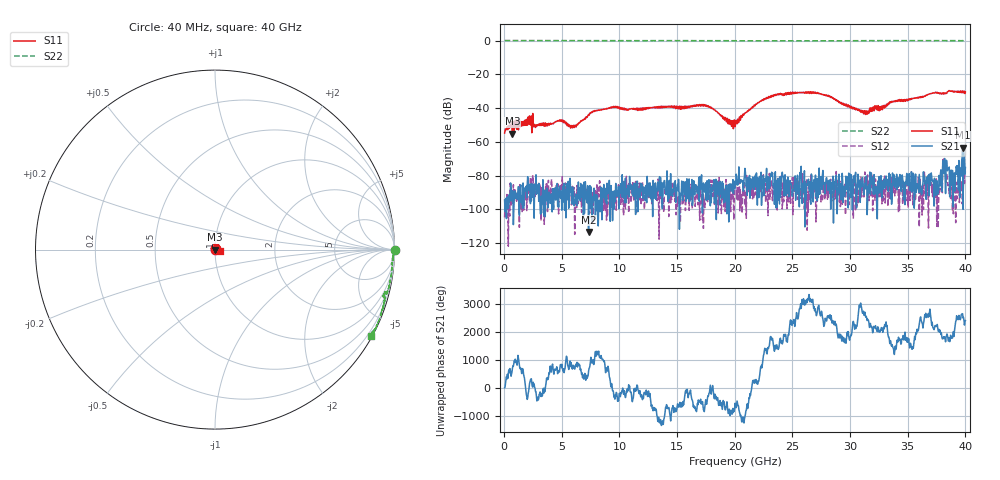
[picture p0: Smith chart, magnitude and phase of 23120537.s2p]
! 12/6/2023 2:03:20 PM
! D:\MS4647AVNA\292M185M 231205XX\23120537.S2P
! CHANNEL.1
! TR.MEASUREMENT
! CORRECTED.DATA
# GHZ S RI R 50.0
! FREQ.GHZ  S11RE  S11IM  S21RE  S21IM  S12RE  S12IM  S22RE  S22IM
!; PortSelection: Port_12
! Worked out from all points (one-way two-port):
!   1000 points, 40 MHz to 40 GHz, reference 50 ohm
!   highest |S21| = -63.58 dB at 39.76 GHz (marker M1); lowest = -113.4 dB at 7.32 GHz (marker M2)
!   lowest |S11| = -55.1 dB at 720 MHz (marker M3), VSWR 1.00, Z = 50.2 - j0.0895 ohm
!   |S11| at or under -10 dB: start of sweep to end of sweep
!   |S22| runs from -0.3 to 0.0 dB; largest |S21 - S12| = 0.00066
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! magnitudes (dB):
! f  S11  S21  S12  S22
! 40 MHz  -54.9  -94.5  -104.8  0.0
! 720 MHz  -55.1  -90.9  -93.7  0.0
! 2.16 GHz  -49.5  -85.2  -90.5  0.0
! 2.76 GHz  -50.2  -79.6  -82.8  0.0
! 4.92 GHz  -47.2  -93.6  -91.1  0.0
! 5.92 GHz  -51.7  -96.9  -86.4  -0.1
! 6.72 GHz  -47.7  -92.8  -101.9  -0.1
! 7.32 GHz  -44.1  -113.4  -90.1  -0.1
! 9.48 GHz  -39.4  -89.4  -91.1  -0.1
! 13.36 GHz  -39.3  -88.7  -82.1  -0.1
! 17.44 GHz  -38.6  -86.4  -93.4  -0.1
! 20.04 GHz  -51.1  -83.3  -87.4  -0.1
! 22.92 GHz  -33.7  -80.8  -84.0  -0.2
! 26.68 GHz  -30.6  -80.0  -93.9  -0.2
! 31.32 GHz  -42.8  -84.2  -86.8  -0.1
! 33.36 GHz  -37.6  -80.6  -86.7  0.0
! 37.6 GHz  -31.1  -91.0  -90.6  -0.1
! 38.24 GHz  -31.5  -80.0  -78.5  -0.1
! 38.44 GHz  -30.3  -77.2  -81.0  -0.1
! 38.96 GHz  -30.5  -87.8  -102.7  -0.1
! 39.76 GHz  -29.8  -63.6  -95.6  -0.1
! 40 GHz  -30.5  -75.3  -78.1  -0.1
